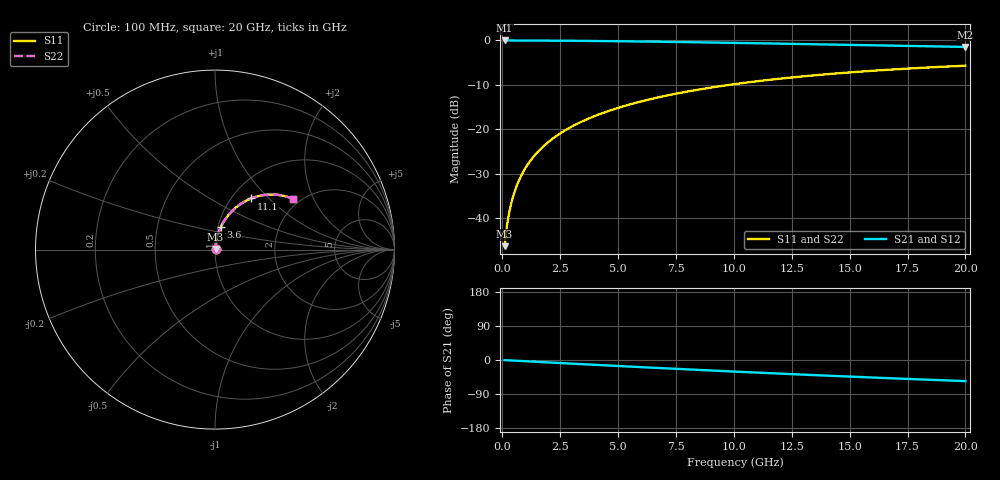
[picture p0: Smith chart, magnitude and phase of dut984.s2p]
! Touchstone file exported from HFSS 2026.1.0
!  File:  C:/ffzhzh/LocalFiles/Ansys_Project_Files/temp_train_BSMRDL_984_1783172807_51560.aedt
!  Generated:  09:48:15 PM Jul  4, 2026
!  Design:  BSMRDL
!  Project:  temp_train_BSMRDL_984_1783172807_51560
! Variables:
!  h_bsmrdl = 5.12um
!  h_ox = 20um
!  h_rdl = 5um
!  h_sub = 80um
!  h_tmrdl = 5um
!  h_tsv = 80um
!  h_via = 3um
!  l_bsmrdl = 835.34um
!  l_sub = 1235.34um
!  l_tmrdl = 200um
!  m_sub = 200um
!  pitch = 57.58um
!  r_tsv = 6um
!  s_tmrdl = 10um
!  w_bsmrdl = 20.52um
!  w_sub = 500um
!  w_tmrdl = 12um
!  x_tsv_center1 = 206um
!  x_tsv_center2 = 1061.86um
!  x_tsv_center3 = 1273.86um
!  x_tsv_center4 = 2129.72um
!  x_tsv_center5 = 2341.72um
!  x_tsv_center6 = 3197.58um
# GHz S MA R 50.000000
! Terminal data exported
! Port[1] = BSM_RDL1_1_T1
! Port[2] = BSM_RDL1_1_T2
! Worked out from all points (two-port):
!   200 points, 100 MHz to 20 GHz, reference 50 ohm
!   highest |S21| = -0.03 dB at 100 MHz (marker M1); lowest = -1.5 dB at 20 GHz (marker M2)
!   |S21| within 3 dB of the highest: start of sweep to end of sweep
!   lowest |S11| = -46.3 dB at 100 MHz (marker M3), VSWR 1.01, Z = 50.3 + j0.386 ohm
!   |S11| at or under -10 dB: start of sweep to 9.816 GHz
!   |S22| runs from -46.3 to -5.7 dB; largest |S21 - S12| = 2.2e-14
!   S11 on the Smith chart (normalised r, x): 100 MHz: 1.01, +0.01; 3.6 GHz: 1.03, +0.26; 11.1 GHz: 1.22, +0.79; 20 GHz: 1.83, +1.42
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0.1  0.004854 52.2  0.997 -0.3  0.997 -0.3  0.004854 52.2
! Gamma 0 0 0 0
! Port Impedance 50 0 50 0
0.2  0.008208 67.1  0.9969 -0.7  0.9969 -0.7  0.008208 67.1
0.3  0.01171 72.9  0.9967 -1.0  0.9967 -1.0  0.01171 72.9
0.4  0.01524 75.9  0.9965 -1.3  0.9965 -1.3  0.01524 75.9
0.5  0.01879 77.8  0.9964 -1.6  0.9964 -1.6  0.01879 77.8
0.7  0.02592 79.8  0.9961 -2.3  0.9961 -2.3  0.02592 79.8
0.8  0.0295 80.3  0.9959 -2.6  0.9959 -2.6  0.0295 80.3
1  0.03667 80.9  0.9956 -3.3  0.9956 -3.3  0.03667 80.9
1.4  0.051 80.9  0.9947 -4.5  0.9947 -4.5  0.051 80.9
1.7  0.0617 80.6  0.9939 -5.5  0.9939 -5.5  0.0617 80.6
2  0.07234 80.0  0.9929 -6.5  0.9929 -6.5  0.07234 80.0
2.7  0.09688 78.3  0.9902 -8.7  0.9902 -8.7  0.09688 78.3
3.5  0.1244 76.0  0.9863 -11.2  0.9863 -11.2  0.1244 76.1
3.6  0.1277 75.8  0.9858 -11.5  0.9858 -11.5  0.1277 75.8
5  0.1741 71.7  0.9774 -15.9  0.9774 -15.9  0.1741 71.7
6.8  0.2304 66.6  0.9644 -21.3  0.9644 -21.3  0.2304 66.6
8.3  0.2745 62.4  0.9521 -25.7  0.9521 -25.7  0.2745 62.4
10.1  0.3237 57.4  0.936 -30.8  0.936 -30.8  0.3237 57.4
11.1  0.3492 54.7  0.9265 -33.6  0.9265 -33.6  0.3492 54.7
13.4  0.4028 48.7  0.9043 -39.7  0.9043 -39.7  0.4028 48.7
16.7  0.4676 40.6  0.8726 -48.0  0.8726 -48.0  0.4675 40.6
20  0.5188 33.0  0.8434 -55.8  0.8434 -55.8  0.5188 33.0
